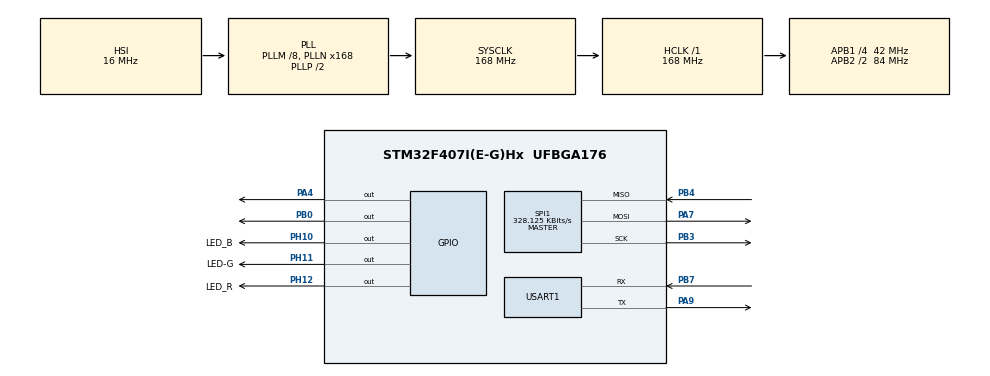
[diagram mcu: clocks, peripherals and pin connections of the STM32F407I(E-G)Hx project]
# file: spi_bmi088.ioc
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Dma.Request0=USART1_TX
Dma.USART1_TX.0.Direction=DMA_MEMORY_TO_PERIPH
Dma.USART1_TX.0.FIFOMode=DMA_FIFOMODE_DISABLE
Dma.USART1_TX.0.Instance=DMA2_Stream7
Dma.USART1_TX.0.MemDataAlignment=DMA_MDATAALIGN_BYTE
Dma.USART1_TX.0.MemInc=DMA_MINC_ENABLE
Dma.USART1_TX.0.Mode=DMA_NORMAL
Dma.USART1_TX.0.PeriphDataAlignment=DMA_PDATAALIGN_BYTE
Dma.USART1_TX.0.PeriphInc=DMA_PINC_DISABLE
Dma.USART1_TX.0.Priority=DMA_PRIORITY_VERY_HIGH
Mcu.Family=STM32F4
Mcu.Name=STM32F407I(E-G)Hx
Mcu.Package=UFBGA176
NVIC.DMA2_Stream7_IRQn=true\:0\:0\:false\:false\:true\:false\:true\:true
NVIC.PriorityGroup=NVIC_PRIORITYGROUP_4
NVIC.USART1_IRQn=true\:0\:0\:false\:false\:true\:true\:true\:true
PA13.Mode=Serial_Wire
PA13.Signal=SYS_JTMS-SWDIO
PA14.Mode=Serial_Wire
PA14.Signal=SYS_JTCK-SWCLK
PA4.Signal=GPIO_Output
PA7.Mode=Full_Duplex_Master
PA7.Signal=SPI1_MOSI
PA9.Mode=Asynchronous
PA9.Signal=USART1_TX
PB0.Signal=GPIO_Output
PB3.Mode=Full_Duplex_Master
PB3.Signal=SPI1_SCK
PB4.Mode=Full_Duplex_Master
PB4.Signal=SPI1_MISO
PB7.Mode=Asynchronous
PB7.Signal=USART1_RX
PH0-OSC_IN.Mode=HSE-External-Oscillator
PH0-OSC_IN.Signal=RCC_OSC_IN
PH1-OSC_OUT.Mode=HSE-External-Oscillator
PH1-OSC_OUT.Signal=RCC_OSC_OUT
PH10.GPIO_Label=LED_B
PH10.Signal=GPIO_Output
PH11.GPIO_Label=LED-G
PH11.Signal=GPIO_Output
PH12.GPIO_Label=LED_R
PH12.Signal=GPIO_Output
ProjectManager.HeapSize=0x200
ProjectManager.StackSize=0x400
ProjectManager.TargetToolchain=Makefile
RCC.48MHZClocksFreq_Value=84000000
RCC.AHBFreq_Value=168000000
RCC.APB1CLKDivider=RCC_HCLK_DIV4
RCC.APB1Freq_Value=42000000
RCC.APB1TimFreq_Value=84000000
RCC.APB2CLKDivider=RCC_HCLK_DIV2
RCC.APB2Freq_Value=84000000
RCC.APB2TimFreq_Value=168000000
RCC.CortexFreq_Value=168000000
RCC.HCLKFreq_Value=168000000
RCC.HSE_VALUE=12000000
RCC.HSI_VALUE=16000000
RCC.LSE_VALUE=32768
RCC.PLLM=8
RCC.PLLN=168
RCC.SYSCLKFreq_VALUE=168000000
RCC.SYSCLKSource=RCC_SYSCLKSOURCE_PLLCLK
RCC.VCOOutputFreq_Value=336000000
SPI1.BaudRatePrescaler=SPI_BAUDRATEPRESCALER_256
SPI1.CLKPhase=SPI_PHASE_2EDGE
SPI1.CLKPolarity=SPI_POLARITY_HIGH
SPI1.CalculateBaudRate=328.125 KBits/s
SPI1.Direction=SPI_DIRECTION_2LINES
SPI1.Mode=SPI_MODE_MASTER
SPI1.VirtualType=VM_MASTER
USART1.VirtualMode=VM_ASYNC
board=custom

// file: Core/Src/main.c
/* USER CODE BEGIN Header */
/**
  ******************************************************************************
  * @file           : main.c
  * @brief          : Main program body
  ******************************************************************************
  * @attention
  *
  * Copyright (c) 2024 STMicroelectronics.
  * All rights reserved.
  *
  * This software is licensed under terms that can be found in the LICENSE file
  * in the root directory of this software component.
  * If no LICENSE file comes with this software, it is provided AS-IS.
  *
  ******************************************************************************
  */
/* USER CODE END Header */
#include "main.h"
#include "dma.h"
#include "spi.h"
#include "usart.h"
#include "gpio.h"

/* USER CODE BEGIN Includes */
#include "BMI088driver.h"
/* USER CODE END Includes */

/* USER CODE BEGIN PV */
uint8_t RxBuffer[100];
uint8_t len;
float gyro_data[3],accel_data[3],temp;
/* USER CODE END PV */

void SystemClock_Config(void);

/* USER CODE BEGIN 0 */
void usart_printf(const char *fmt,...)
{
  static uint8_t tx_buf[256] = {0};
  static va_list ap;
  static uint16_t len;
  va_start(ap, fmt);

  //return length of string
  len = vsprintf((char *)tx_buf, fmt, ap);

  va_end(ap);

  HAL_UART_Transmit_DMA(&huart1,tx_buf, len);

}
/* USER CODE END 0 */

int main(void)
{

  /* MCU Configuration--------------------------------------------------------*/

  /* Reset of all peripherals, Initializes the Flash interface and the Systick. */
  HAL_Init();

  /* Configure the system clock */
  SystemClock_Config();

  /* Initialize all configured peripherals */
  MX_GPIO_Init();
  MX_DMA_Init();
  MX_USART1_UART_Init();
  MX_SPI1_Init();
  /* USER CODE BEGIN 2 */
  //enable receive interrupt and idle interrupt
  __HAL_UART_ENABLE_IT(&huart1, UART_IT_RXNE);  //receive interrupt
  __HAL_UART_ENABLE_IT(&huart1, UART_IT_IDLE);  //idle interrupt
  while(BMI088_init());
  /* USER CODE END 2 */

  /* Infinite loop */
  /* USER CODE BEGIN WHILE */
  while (1)
  {
    HAL_GPIO_WritePin(LED_R_GPIO_Port, LED_R_Pin, GPIO_PIN_SET);
    HAL_GPIO_WritePin(LED_G_GPIO_Port, LED_G_Pin, GPIO_PIN_SET);
    HAL_GPIO_WritePin(LED_B_GPIO_Port, LED_B_Pin, GPIO_PIN_SET);
    HAL_Delay(500);
    HAL_GPIO_WritePin(LED_R_GPIO_Port, LED_R_Pin, GPIO_PIN_RESET);
    HAL_GPIO_WritePin(LED_G_GPIO_Port, LED_G_Pin, GPIO_PIN_RESET);
    HAL_GPIO_WritePin(LED_B_GPIO_Port, LED_B_Pin, GPIO_PIN_RESET);
    HAL_Delay(500);
    /* USER CODE END WHILE */

    /* USER CODE BEGIN 3 */
    BMI088_read(gyro_data,accel_data,&temp);
    usart_printf("X:%d,y:%d,z:%d,temp:%d\r\n",(int)(accel_data[0]*100),(int)(accel_data[1]*100),(int)(accel_data[2]*100),(int)(temp*100));

  }
  /* USER CODE END 3 */
}

void SystemClock_Config(void)
{
  RCC_OscInitTypeDef RCC_OscInitStruct = {0};
  RCC_ClkInitTypeDef RCC_ClkInitStruct = {0};

  /** Configure the main internal regulator output voltage
  */
  __HAL_RCC_PWR_CLK_ENABLE();
  __HAL_PWR_VOLTAGESCALING_CONFIG(PWR_REGULATOR_VOLTAGE_SCALE1);

  /** Initializes the RCC Oscillators according to the specified parameters
  * in the RCC_OscInitTypeDef structure.
  */
  RCC_OscInitStruct.OscillatorType = RCC_OSCILLATORTYPE_HSI;
  RCC_OscInitStruct.HSIState = RCC_HSI_ON;
  RCC_OscInitStruct.HSICalibrationValue = RCC_HSICALIBRATION_DEFAULT;
  RCC_OscInitStruct.PLL.PLLState = RCC_PLL_ON;
  RCC_OscInitStruct.PLL.PLLSource = RCC_PLLSOURCE_HSI;
  RCC_OscInitStruct.PLL.PLLM = 8;
  RCC_OscInitStruct.PLL.PLLN = 168;
  RCC_OscInitStruct.PLL.PLLP = RCC_PLLP_DIV2;
  RCC_OscInitStruct.PLL.PLLQ = 4;
  if (HAL_RCC_OscConfig(&RCC_OscInitStruct) != HAL_OK)
  {
    Error_Handler();
  }

  /** Initializes the CPU, AHB and APB buses clocks
  */
  RCC_ClkInitStruct.ClockType = RCC_CLOCKTYPE_HCLK|RCC_CLOCKTYPE_SYSCLK
                              |RCC_CLOCKTYPE_PCLK1|RCC_CLOCKTYPE_PCLK2;
  RCC_ClkInitStruct.SYSCLKSource = RCC_SYSCLKSOURCE_PLLCLK;
  RCC_ClkInitStruct.AHBCLKDivider = RCC_SYSCLK_DIV1;
  RCC_ClkInitStruct.APB1CLKDivider = RCC_HCLK_DIV4;
  RCC_ClkInitStruct.APB2CLKDivider = RCC_HCLK_DIV2;

  if (HAL_RCC_ClockConfig(&RCC_ClkInitStruct, FLASH_LATENCY_5) != HAL_OK)
  {
    Error_Handler();
  }
}

void Error_Handler(void)
{
  __disable_irq();
  while (1)
  {
  }
}
